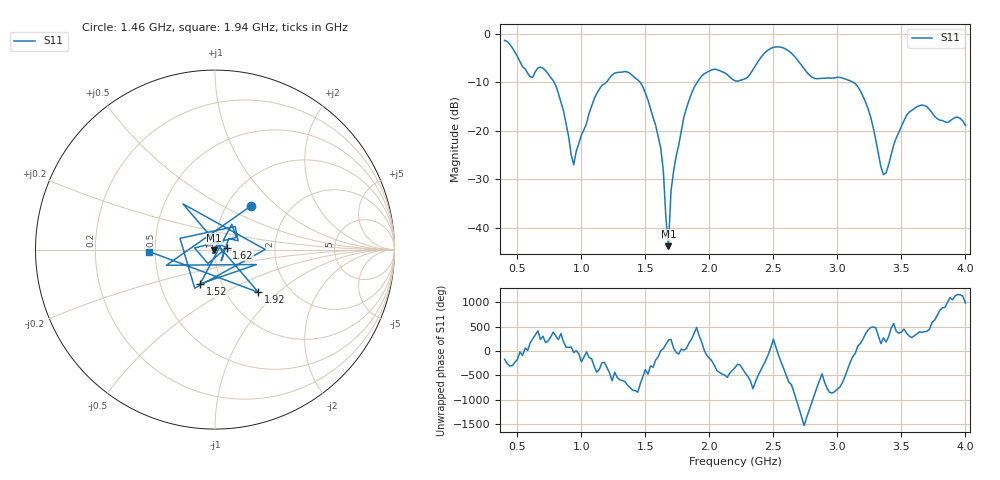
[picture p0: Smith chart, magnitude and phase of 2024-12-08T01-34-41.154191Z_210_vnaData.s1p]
!Created with skrf (http://scikit-rf.org).
# Hz S RI R 50.0
!freq ReS11 ImS11
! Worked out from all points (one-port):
!   181 points, 400 MHz to 4 GHz, reference 50 ohm
!   lowest |S11| = -43.8 dB at 1.68 GHz (marker M1), VSWR 1.01, Z = 49.5 - j0.449 ohm
!   |S11| at or under -10 dB: 787.1 MHz to 1.192 GHz (405.3 MHz wide, 40.9 % of centre); 1.46 GHz to 1.904 GHz (443.6 MHz wide, 26.4 % of centre); 3.125 GHz to end of sweep
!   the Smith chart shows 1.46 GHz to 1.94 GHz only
!   S11 on the Smith chart (normalised r, x): 1.46 GHz: 1.29, +0.70; 1.52 GHz: 0.79, -0.32; 1.62 GHz: 1.14, +0.03; 1.92 GHz: 1.40, -0.75; 1.94 GHz: 0.46, -0.01
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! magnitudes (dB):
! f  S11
! 400 MHz  -1.3
! 600 MHz  -8.8
! 720 MHz  -7.5
! 860 MHz  -15.8
! 940 MHz  -27.0
! 1.12 GHz  -12.3
! 1.3 GHz  -7.9
! 1.46 GHz  -10.0
! 1.52 GHz  -13.6
! 1.62 GHz  -23.6
! 1.64 GHz  -28.2
! 1.66 GHz  -37.9
! 1.68 GHz  -43.8
! 1.7 GHz  -32.4
! 1.76 GHz  -23.0
! 1.82 GHz  -15.4
! 1.92 GHz  -9.4
! 1.94 GHz  -8.7
! 2.2 GHz  -9.7
! 2.48 GHz  -3.0
! 2.66 GHz  -4.5
! 2.82 GHz  -9.2
! 3.1 GHz  -9.7
! 3.24 GHz  -15.5
! 3.36 GHz  -29.1
! 3.56 GHz  -16.2
! 3.68 GHz  -14.8
! 4 GHz  -18.9
